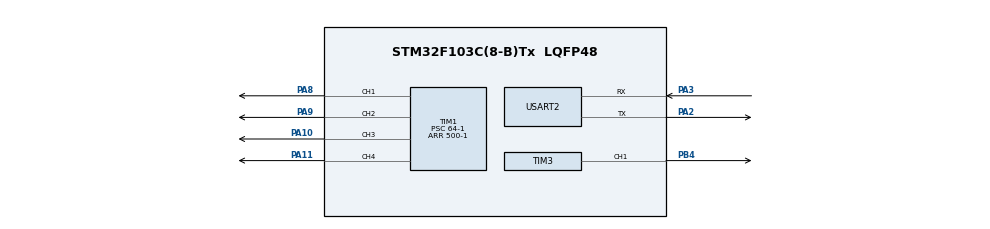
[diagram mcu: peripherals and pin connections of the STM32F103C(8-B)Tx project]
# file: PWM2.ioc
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Mcu.Family=STM32F1
Mcu.Name=STM32F103C(8-B)Tx
Mcu.Package=LQFP48
NVIC.PriorityGroup=NVIC_PRIORITYGROUP_4
NVIC.RTC_IRQn=true\:0\:0\:false\:false\:true\:true\:true
NVIC.TIM1_BRK_IRQn=true\:0\:0\:false\:false\:true\:true\:true
NVIC.TIM1_CC_IRQn=true\:0\:0\:false\:false\:true\:true\:true
NVIC.TIM1_TRG_COM_IRQn=true\:0\:0\:false\:false\:true\:true\:true
NVIC.TIM1_UP_IRQn=true\:0\:0\:false\:false\:true\:true\:true
NVIC.TIM3_IRQn=true\:0\:0\:false\:false\:true\:true\:true
PA10.GPIO_Speed=GPIO_SPEED_FREQ_HIGH
PA10.Signal=S_TIM1_CH3
PA11.GPIO_Speed=GPIO_SPEED_FREQ_HIGH
PA11.Signal=S_TIM1_CH4
PA13.Mode=Serial_Wire
PA13.Signal=SYS_JTMS-SWDIO
PA14.Mode=Serial_Wire
PA14.Signal=SYS_JTCK-SWCLK
PA2.Mode=Asynchronous
PA2.Signal=USART2_TX
PA3.Mode=Asynchronous
PA3.Signal=USART2_RX
PA8.GPIO_Speed=GPIO_SPEED_FREQ_HIGH
PA8.Signal=S_TIM1_CH1
PA9.GPIO_Speed=GPIO_SPEED_FREQ_HIGH
PA9.Signal=S_TIM1_CH2
PB4.GPIO_Speed=GPIO_SPEED_FREQ_HIGH
PB4.Signal=S_TIM3_CH1
PC14-OSC32_IN.Mode=LSE-External-Oscillator
PC14-OSC32_IN.Signal=RCC_OSC32_IN
PC15-OSC32_OUT.Mode=LSE-External-Oscillator
PC15-OSC32_OUT.Signal=RCC_OSC32_OUT
ProjectManager.HeapSize=0x200
ProjectManager.StackSize=0x400
ProjectManager.TargetToolchain=STM32CubeIDE
RCC.APB1Freq_Value=8000000
RCC.APB2Freq_Value=8000000
RCC.RTCClockSelection=RCC_RTCCLKSOURCE_LSE
RCC.USBFreq_Value=8000000
RTC.Format=RTC_FORMAT_BIN
RTC.Year=23
SH.S_TIM1_CH1.0=TIM1_CH1,PWM Generation1 CH1
SH.S_TIM1_CH2.0=TIM1_CH2,PWM Generation2 CH2
SH.S_TIM1_CH3.0=TIM1_CH3,PWM Generation3 CH3
SH.S_TIM1_CH4.0=TIM1_CH4,PWM Generation4 CH4
SH.S_TIM3_CH1.0=TIM3_CH1,PWM Generation1 CH1
TIM1.Channel-PWM\ Generation1\ CH1=TIM_CHANNEL_1
TIM1.Channel-PWM\ Generation2\ CH2=TIM_CHANNEL_2
TIM1.Channel-PWM\ Generation3\ CH3=TIM_CHANNEL_3
TIM1.Channel-PWM\ Generation4\ CH4=TIM_CHANNEL_4
TIM1.Period=500-1
TIM1.Prescaler=64-1
TIM3.Channel-PWM\ Generation1\ CH1=TIM_CHANNEL_1
TIM3.Period=500-1
TIM3.Prescaler=64-1
USART2.VirtualMode=VM_ASYNC
VP_RTC_No_RTC_Output.Mode=RTC_OUT_NO
VP_RTC_VS_RTC_Activate.Mode=RTC_Enabled
VP_RTC_VS_RTC_Calendar.Mode=RTC_Calendar
VP_TIM1_VS_ClockSourceINT.Mode=Internal
VP_TIM3_VS_ClockSourceINT.Mode=Internal
board=custom

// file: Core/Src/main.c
/* USER CODE BEGIN Header */
#include<stdio.h>
#include<string.h>
#include<stdlib.h>
#include<time.h>
/**
  ******************************************************************************
  * @file           : main.c
  * @brief          : Main program body
  ******************************************************************************
  * @attention
  *
  * Copyright (c) 2023 STMicroelectronics.
  * All rights reserved.
  *
  * This software is licensed under terms that can be found in the LICENSE file
  * in the root directory of this software component.
  * If no LICENSE file comes with this software, it is provided AS-IS.
  *
  ******************************************************************************
  */
/* USER CODE END Header */
#include "main.h"

RTC_HandleTypeDef hrtc;

TIM_HandleTypeDef htim1;
TIM_HandleTypeDef htim3;

UART_HandleTypeDef huart2;

void SystemClock_Config(void);
static void MX_GPIO_Init(void);
static void MX_TIM1_Init(void);
static void MX_TIM3_Init(void);
static void MX_RTC_Init(void);
static void MX_USART2_UART_Init(void);
/* USER CODE BEGIN PFP */
//void setPWMP(TIM_HandleTypeDef * tim, uint16_t channel, uint32_t pwm_value);
typedef struct lcd {
    uint32_t val;
    uint8_t stepUp;
    uint8_t stepDown;
    int8_t Direction;
    uint32_t DownTime;
    uint32_t UpTime;
    uint16_t DownDur;
    uint16_t UpDur;
    uint16_t maxValue;
} lcd;
uint32_t setValue(struct lcd * led);
/* USER CODE END PFP */

int main(void)
{

  /* MCU Configuration--------------------------------------------------------*/

  /* Reset of all peripherals, Initializes the Flash interface and the Systick. */
  HAL_Init();

  /* Configure the system clock */
  SystemClock_Config();

  /* Initialize all configured peripherals */
  MX_GPIO_Init();
  MX_TIM1_Init();
  MX_TIM3_Init();
  MX_RTC_Init();
  MX_USART2_UART_Init();
  /* USER CODE BEGIN 2 */
    HAL_TIM_PWM_Start(&htim1, TIM_CHANNEL_1);
    HAL_TIM_PWM_Start(&htim1, TIM_CHANNEL_2);
    HAL_TIM_PWM_Start(&htim1, TIM_CHANNEL_3);
    HAL_TIM_PWM_Start(&htim1, TIM_CHANNEL_4);
    HAL_TIM_PWM_Start(&htim3, TIM_CHANNEL_1);
    HAL_UART_Transmit(&huart2,(uint8_t*)"Test UART2\n", sizeof("Test UART2\n") - 1 ,1000);
  /* USER CODE END 2 */

  /* Infinite loop */
  /* USER CODE BEGIN WHILE */

    lcd lcd1;
    lcd1.maxValue = 600;
    lcd1.stepUp = 2;
    lcd1.stepDown = 2;
    lcd1.DownDur = 3000;
    lcd1.UpDur = 1000;

    lcd lcd2;
    lcd2.maxValue = 600;
    lcd2.stepUp = 1;
    lcd2.stepDown = 1;
    lcd2.DownDur = 0;
    lcd2.UpDur = 1000;

    lcd lcd3;
    lcd3.maxValue = 600;
    lcd3.stepUp = 1;
    lcd3.stepDown = 1;
    lcd3.DownDur = 0;
    lcd3.UpDur = 1000;

    lcd lcd4;
    lcd4.maxValue = 600;
    lcd4.stepUp = 1;
    lcd4.stepDown = 1;
    lcd4.DownDur = 0;
    lcd4.UpDur = 1000;

    lcd lcd5;
    lcd5.maxValue = 600;
    lcd5.stepUp = 1;
    lcd5.stepDown = 1;
    lcd5.DownDur = 3000;
    lcd5.UpDur = 1000;

    while (1)
    {
//        TIM1->CCR1 = setValue(&lcd1);
//        TIM1->CCR2 = setValue(&lcd2);
//        TIM1->CCR3 = setValue(&lcd3);
//        TIM1->CCR4 = setValue(&lcd4);
        TIM3->CCR1 = setValue(&lcd5);

        HAL_Delay(5);

    }
    /* USER CODE END WHILE */

}

void SystemClock_Config(void)
{
  RCC_OscInitTypeDef RCC_OscInitStruct = {0};
  RCC_ClkInitTypeDef RCC_ClkInitStruct = {0};
  RCC_PeriphCLKInitTypeDef PeriphClkInit = {0};

  /** Initializes the RCC Oscillators according to the specified parameters
  * in the RCC_OscInitTypeDef structure.
  */
  RCC_OscInitStruct.OscillatorType = RCC_OSCILLATORTYPE_HSI|RCC_OSCILLATORTYPE_LSE;
  RCC_OscInitStruct.LSEState = RCC_LSE_ON;
  RCC_OscInitStruct.HSIState = RCC_HSI_ON;
  RCC_OscInitStruct.HSICalibrationValue = RCC_HSICALIBRATION_DEFAULT;
  RCC_OscInitStruct.PLL.PLLState = RCC_PLL_NONE;
  if (HAL_RCC_OscConfig(&RCC_OscInitStruct) != HAL_OK)
  {
    Error_Handler();
  }
  /** Initializes the CPU, AHB and APB buses clocks
  */
  RCC_ClkInitStruct.ClockType = RCC_CLOCKTYPE_HCLK|RCC_CLOCKTYPE_SYSCLK
                              |RCC_CLOCKTYPE_PCLK1|RCC_CLOCKTYPE_PCLK2;
  RCC_ClkInitStruct.SYSCLKSource = RCC_SYSCLKSOURCE_HSI;
  RCC_ClkInitStruct.AHBCLKDivider = RCC_SYSCLK_DIV1;
  RCC_ClkInitStruct.APB1CLKDivider = RCC_HCLK_DIV1;
  RCC_ClkInitStruct.APB2CLKDivider = RCC_HCLK_DIV1;

  if (HAL_RCC_ClockConfig(&RCC_ClkInitStruct, FLASH_LATENCY_0) != HAL_OK)
  {
    Error_Handler();
  }
  PeriphClkInit.PeriphClockSelection = RCC_PERIPHCLK_RTC;
  PeriphClkInit.RTCClockSelection = RCC_RTCCLKSOURCE_LSE;
  if (HAL_RCCEx_PeriphCLKConfig(&PeriphClkInit) != HAL_OK)
  {
    Error_Handler();
  }
}

static void MX_RTC_Init(void)
{

  RTC_TimeTypeDef sTime = {0};
  RTC_DateTypeDef DateToUpdate = {0};

  /** Initialize RTC Only
  */
  hrtc.Instance = RTC;
  hrtc.Init.AsynchPrediv = RTC_AUTO_1_SECOND;
  hrtc.Init.OutPut = RTC_OUTPUTSOURCE_NONE;
  if (HAL_RTC_Init(&hrtc) != HAL_OK)
  {
    Error_Handler();
  }

  /** Initialize RTC and set the Time and Date
  */
  sTime.Hours = 0;
  sTime.Minutes = 0;
  sTime.Seconds = 0;

  if (HAL_RTC_SetTime(&hrtc, &sTime, RTC_FORMAT_BIN) != HAL_OK)
  {
    Error_Handler();
  }
  DateToUpdate.WeekDay = RTC_WEEKDAY_MONDAY;
  DateToUpdate.Month = RTC_MONTH_JANUARY;
  DateToUpdate.Date = 1;
  DateToUpdate.Year = 23;

  if (HAL_RTC_SetDate(&hrtc, &DateToUpdate, RTC_FORMAT_BIN) != HAL_OK)
  {
    Error_Handler();
  }

}

static void MX_TIM1_Init(void)
{

  TIM_ClockConfigTypeDef sClockSourceConfig = {0};
  TIM_MasterConfigTypeDef sMasterConfig = {0};
  TIM_OC_InitTypeDef sConfigOC = {0};
  TIM_BreakDeadTimeConfigTypeDef sBreakDeadTimeConfig = {0};

  htim1.Instance = TIM1;
  htim1.Init.Prescaler = 64-1;
  htim1.Init.CounterMode = TIM_COUNTERMODE_UP;
  htim1.Init.Period = 500-1;
  htim1.Init.ClockDivision = TIM_CLOCKDIVISION_DIV1;
  htim1.Init.RepetitionCounter = 0;
  htim1.Init.AutoReloadPreload = TIM_AUTORELOAD_PRELOAD_DISABLE;
  if (HAL_TIM_Base_Init(&htim1) != HAL_OK)
  {
    Error_Handler();
  }
  sClockSourceConfig.ClockSource = TIM_CLOCKSOURCE_INTERNAL;
  if (HAL_TIM_ConfigClockSource(&htim1, &sClockSourceConfig) != HAL_OK)
  {
    Error_Handler();
  }
  if (HAL_TIM_PWM_Init(&htim1) != HAL_OK)
  {
    Error_Handler();
  }
  sMasterConfig.MasterOutputTrigger = TIM_TRGO_RESET;
  sMasterConfig.MasterSlaveMode = TIM_MASTERSLAVEMODE_DISABLE;
  if (HAL_TIMEx_MasterConfigSynchronization(&htim1, &sMasterConfig) != HAL_OK)
  {
    Error_Handler();
  }
  sConfigOC.OCMode = TIM_OCMODE_PWM1;
  sConfigOC.Pulse = 0;
  sConfigOC.OCPolarity = TIM_OCPOLARITY_HIGH;
  sConfigOC.OCNPolarity = TIM_OCNPOLARITY_HIGH;
  sConfigOC.OCFastMode = TIM_OCFAST_DISABLE;
  sConfigOC.OCIdleState = TIM_OCIDLESTATE_RESET;
  sConfigOC.OCNIdleState = TIM_OCNIDLESTATE_RESET;
  if (HAL_TIM_PWM_ConfigChannel(&htim1, &sConfigOC, TIM_CHANNEL_1) != HAL_OK)
  {
    Error_Handler();
  }
  if (HAL_TIM_PWM_ConfigChannel(&htim1, &sConfigOC, TIM_CHANNEL_2) != HAL_OK)
  {
    Error_Handler();
  }
  if (HAL_TIM_PWM_ConfigChannel(&htim1, &sConfigOC, TIM_CHANNEL_3) != HAL_OK)
  {
    Error_Handler();
  }
  if (HAL_TIM_PWM_ConfigChannel(&htim1, &sConfigOC, TIM_CHANNEL_4) != HAL_OK)
  {
    Error_Handler();
  }
  sBreakDeadTimeConfig.OffStateRunMode = TIM_OSSR_DISABLE;
  sBreakDeadTimeConfig.OffStateIDLEMode = TIM_OSSI_DISABLE;
  sBreakDeadTimeConfig.LockLevel = TIM_LOCKLEVEL_OFF;
  sBreakDeadTimeConfig.DeadTime = 0;
  sBreakDeadTimeConfig.BreakState = TIM_BREAK_DISABLE;
  sBreakDeadTimeConfig.BreakPolarity = TIM_BREAKPOLARITY_HIGH;
  sBreakDeadTimeConfig.AutomaticOutput = TIM_AUTOMATICOUTPUT_DISABLE;
  if (HAL_TIMEx_ConfigBreakDeadTime(&htim1, &sBreakDeadTimeConfig) != HAL_OK)
  {
    Error_Handler();
  }
  HAL_TIM_MspPostInit(&htim1);

}

static void MX_TIM3_Init(void)
{

  TIM_ClockConfigTypeDef sClockSourceConfig = {0};
  TIM_MasterConfigTypeDef sMasterConfig = {0};
  TIM_OC_InitTypeDef sConfigOC = {0};

  htim3.Instance = TIM3;
  htim3.Init.Prescaler = 64-1;
  htim3.Init.CounterMode = TIM_COUNTERMODE_UP;
  htim3.Init.Period = 500-1;
  htim3.Init.ClockDivision = TIM_CLOCKDIVISION_DIV1;
  htim3.Init.AutoReloadPreload = TIM_AUTORELOAD_PRELOAD_DISABLE;
  if (HAL_TIM_Base_Init(&htim3) != HAL_OK)
  {
    Error_Handler();
  }
  sClockSourceConfig.ClockSource = TIM_CLOCKSOURCE_INTERNAL;
  if (HAL_TIM_ConfigClockSource(&htim3, &sClockSourceConfig) != HAL_OK)
  {
    Error_Handler();
  }
  if (HAL_TIM_PWM_Init(&htim3) != HAL_OK)
  {
    Error_Handler();
  }
  sMasterConfig.MasterOutputTrigger = TIM_TRGO_RESET;
  sMasterConfig.MasterSlaveMode = TIM_MASTERSLAVEMODE_DISABLE;
  if (HAL_TIMEx_MasterConfigSynchronization(&htim3, &sMasterConfig) != HAL_OK)
  {
    Error_Handler();
  }
  sConfigOC.OCMode = TIM_OCMODE_PWM1;
  sConfigOC.Pulse = 0;
  sConfigOC.OCPolarity = TIM_OCPOLARITY_HIGH;
  sConfigOC.OCFastMode = TIM_OCFAST_DISABLE;
  if (HAL_TIM_PWM_ConfigChannel(&htim3, &sConfigOC, TIM_CHANNEL_1) != HAL_OK)
  {
    Error_Handler();
  }
  HAL_TIM_MspPostInit(&htim3);

}

static void MX_USART2_UART_Init(void)
{

  huart2.Instance = USART2;
  huart2.Init.BaudRate = 115200;
  huart2.Init.WordLength = UART_WORDLENGTH_8B;
  huart2.Init.StopBits = UART_STOPBITS_1;
  huart2.Init.Parity = UART_PARITY_NONE;
  huart2.Init.Mode = UART_MODE_TX_RX;
  huart2.Init.HwFlowCtl = UART_HWCONTROL_NONE;
  huart2.Init.OverSampling = UART_OVERSAMPLING_16;
  if (HAL_UART_Init(&huart2) != HAL_OK)
  {
    Error_Handler();
  }

}

static void MX_GPIO_Init(void)
{

  /* GPIO Ports Clock Enable */
  __HAL_RCC_GPIOC_CLK_ENABLE();
  __HAL_RCC_GPIOA_CLK_ENABLE();
  __HAL_RCC_GPIOB_CLK_ENABLE();

}

/* USER CODE BEGIN 4 */
//void setPWMP(TIM_HandleTypeDef * tim, uint16_t channel, uint32_t value)
//{
//    TIM_OC_InitTypeDef sConfigOC;
//    sConfigOC.OCMode = TIM_OCMODE_PWM1;
//    sConfigOC.Pulse = value;
//    sConfigOC.OCPolarity = TIM_OCPOLARITY_HIGH;
//    sConfigOC.OCFastMode = TIM_OCFAST_DISABLE;
//    HAL_TIM_PWM_ConfigChannel(tim, &sConfigOC, channel);
//    HAL_TIM_PWM_Start(tim, channel);
//}
uint32_t setValue(struct lcd * pin)
{
    char buf[24];
    if(pin->Direction == 1)
    {
        if(pin->val >= pin->maxValue)
        {
            HAL_UART_Transmit(&huart2,(uint8_t*)"Down\r\n", sizeof("Down\r\n") - 1 ,1000);
            sprintf(buf,"Curr time: %10u\r\n", HAL_GetTick());
            HAL_UART_Transmit(&huart2,(uint8_t*)buf, sizeof(buf)-1 ,1000);

            pin->Direction = 0; //идем вниз
            pin->UpTime = HAL_GetTick();
            HAL_Delay(100);
        }
        else
        {
            if(HAL_GetTick() >= pin->DownTime + pin->DownDur)
            {
              pin->val += pin->stepUp;
            }
        }
    }
    if(pin->Direction == 0)
    {
        if(pin->val <= 0)
        {
            HAL_UART_Transmit(&huart2,(uint8_t*)"Up\r\n", sizeof("Up\r\n") - 1 ,1000);
            sprintf(buf,"Curr time: %10u\r\n", HAL_GetTick());
            HAL_UART_Transmit(&huart2,(uint8_t*)buf, sizeof(buf)-1 ,1000);
            pin->Direction = 1; //идем вверх
            pin->DownTime = HAL_GetTick();
            HAL_Delay(100);
        }
        else
        {
            if(HAL_GetTick() >= pin->UpTime  + pin->UpDur)
            {
              pin->val -= pin->stepDown;
            }
        }
    }
    return pin->val;
}
/* USER CODE END 4 */

void Error_Handler(void)
{
  __disable_irq();
  while (1)
  {
  }
}
